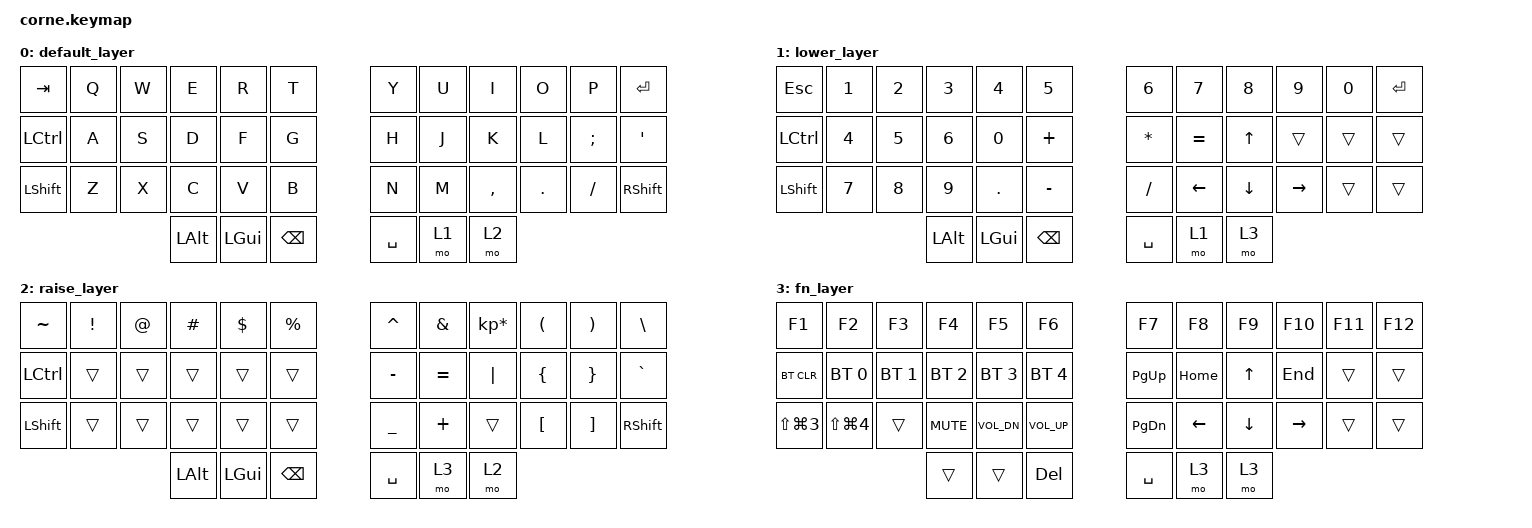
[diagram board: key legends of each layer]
/*
 * Copyright (c) 2020 The ZMK Contributors
 *
 * SPDX-License-Identifier: MIT
 */

#include <behaviors.dtsi>
#include <dt-bindings/zmk/keys.h>
#include <dt-bindings/zmk/bt.h>

/ {
        keymap {
                compatible = "zmk,keymap";

				// ---------------------------------- 0 Default ---------------------------
				// | TAB  | Q | W | E   | R   | T    |   | Y   | U   | I   | O | P | RET  |
				// |------|---|---|-----|-----|------|---|-----|-----|-----|---|---|------|
				// | CTRL | A | S | D   | F   | G    |   | H   | J   | K   | L | ; | '    |
				// |------|---|---|-----|-----|------|---|-----|-----|-----|---|---|------|
				// | SHFT | Z | X | C   | V   | B    |   | N   | M   | ,   | . | / | SHFT |
				// |------|---|---|-----|-----|------|---|-----|-----|-----|---|---|------|
				// |      |   |   | ALT | GUI | BSPC |   | SPC | Num | SYM |   |   |      |
				// ------------------------------------------------------------------------
				default_layer {
					bindings = <
   &kp TAB   &kp Q &kp W &kp E &kp R &kp T      &kp Y     &kp U &kp I     &kp O   &kp P    &kp RET
   &kp LCTRL &kp A &kp S &kp D &kp F &kp G      &kp H     &kp J &kp K     &kp L   &kp SEMI &kp SQT
   &kp LSHFT &kp Z &kp X &kp C &kp V &kp B      &kp N     &kp M &kp COMMA &kp DOT &kp FSLH &kp RSHFT
                    &kp LALT &kp LGUI &kp BSPC  &kp SPACE &mo 1 &mo 2
					>;
				};

				//  ----------------------------------- 1 Numbers ----------------------------
				//  | ESC  | 1 | 2 | 3   | 4   | 5    |  | 6   | 7    | 8    | 9   | 0 | RET |
				//  |------|---|---|-----|-----|------|--|-----|------|------|-----|---|-----|
				//  | CTRL | 4 | 5 | 6   | 0   | +    |  | *   | =    | UP   |     |   |     |
				//  |------|---|---|-----|-----|------|--|-----|------|------|-----|---|-----|
				//  | SHFT | 7 | 8 | 9   | .   | -    |  | /   | LEFT | DWN  | RGT |   |     |
				//  |------|---|---|-----|-----|------|--|-----|------|------|-----|---|-----|
				//  |      |   |   | ALT | GUI | BSPC |  | SPC | Num  | FUNC |     |   |     |
				//  --------------------------------------------------------------------------
                lower_layer {
					bindings = <
   &kp ESC    &kp N1  &kp N2  &kp N3   &kp N4    &kp N5         &kp N6    &kp N7    &kp N8   &kp N9    &kp N0 &kp RET
   &kp LCTRL  &kp N4  &kp N5  &kp N6   &kp N0    &kp PLUS       &kp STAR  &kp EQUAL &kp UP   &trans    &trans &trans
   &kp LSHFT  &kp N7  &kp N8  &kp N9   &kp DOT   &kp MINUS      &kp FSLH  &kp LEFT  &kp DOWN &kp RIGHT &trans &trans
                       	      &kp LALT &kp LGUI  &kp BSPC       &kp SPACE &mo 1     &mo 3
					>;
                };

				//  ------------------------------ 2 Symbols ----------------------------------------------------------------------------
				// | ~          |  !   |   @   |   #   |   $   | %      |        |   ^   | &      | *      | (      | )       | \       |
				// | ---------- | ---- | ----- | ----- | ----- | ------ |--------|-------| ------ | ------ | ------ | ------- |---------|
				// | CTRL       |      |       |       |       |        |        |   -   | =      | "|"    | {      | }       | `       |
				// | ---------- | ---- | ----- | ----- | ----- | ------ |--------|-------| ------ | ------ | ------ | ------- |---------|
				// | SHFT       |      |       |       |       |        |        |   _   | +      |        | [      | ]       | RSHFT   |
				// | ---------- | ---- | ----- | ----- | ----- | ------ |--------|-------| ------ | ------ | ------ | ------- |---------|
				// |            |      |       | ALT   | GUI   | BSPC   |        | SPC   | FUNC   | SYM    |        |         |         |
				//  ---------------------------------------------------------------------------------------------------------------------
				raise_layer {
					bindings = <
   &kp TILDE  &kp EXCL &kp AT &kp HASH &kp DLLR  &kp PRCNT    &kp CARET &kp AMPS  &kp KP_MULTIPLY &kp LPAR &kp RPAR &kp BSLH
   &kp LCTRL  &trans   &trans &trans   &trans    &trans       &kp MINUS &kp EQUAL &kp PIPE        &kp LBRC &kp RBRC &kp GRAVE
   &kp LSHFT  &trans   &trans &trans   &trans    &trans       &kp UNDER &kp PLUS  &trans          &kp LBKT &kp RBKT &kp RSHFT
                        	  &kp LALT &kp LGUI  &kp BSPC     &kp SPACE &mo 3     &mo 2
                    >;
                };

				//  ------------------------------------- 3 Functions ---------------------------------------------------
				// | F1       | F2       | F3  | F4  | F5     | F6   |      |  | F7   | F8   | F9   | F10   | F11 | F12 |
				// |----------|----------|-----|-----|--------|------|------|--|------|------|------|-------|-----|-----|
				// | BTCLR    | BT1      | BT2 | BT3 | BT4    | BT5  |      |  | P UP | HOME | UP   | END   |     |     |
				// |----------|----------|-----|-----|--------|------|------|--|------|------|------|-------|-----|-----|
				// | prtscr 3 | prtscr 4 |     |     | V MUTE | V DN | V UP |  | P DN | LEFT | DOWN | RIGHT |     |     |
				// |----------|----------|-----|-----|--------|------|------|--|------|------|------|-------|-----|-----|
				// |          |          |     |     |        |      | DEL  |  | SPC  | FUNC | FUNC |       |     |     |
				//  -----------------------------------------------------------------------------------------------------
				fn_layer {
					bindings = <
   &kp F1        &kp F2         &kp F3       &kp F4        &kp F5       &kp F6           &kp F7     &kp F8    &kp F9    &kp F10   &kp F11  &kp F12
   &bt BT_CLR    &bt BT_SEL 0   &bt BT_SEL 1 &bt BT_SEL 2  &bt BT_SEL 3 &bt BT_SEL 4     &kp PG_UP  &kp HOME  &kp UP    &kp END   &trans   &trans
   &kp LS(LG(3)) &kp LS(LG(4))  &trans       &kp K_MUTE    &kp K_VOL_DN &kp K_VOL_UP     &kp PG_DN  &kp LEFT  &kp DOWN  &kp RIGHT &trans   &trans
                                             &trans        &trans       &kp DELETE       &kp SPACE  &mo 3     &mo 3
                    >;
                };
        };
};
